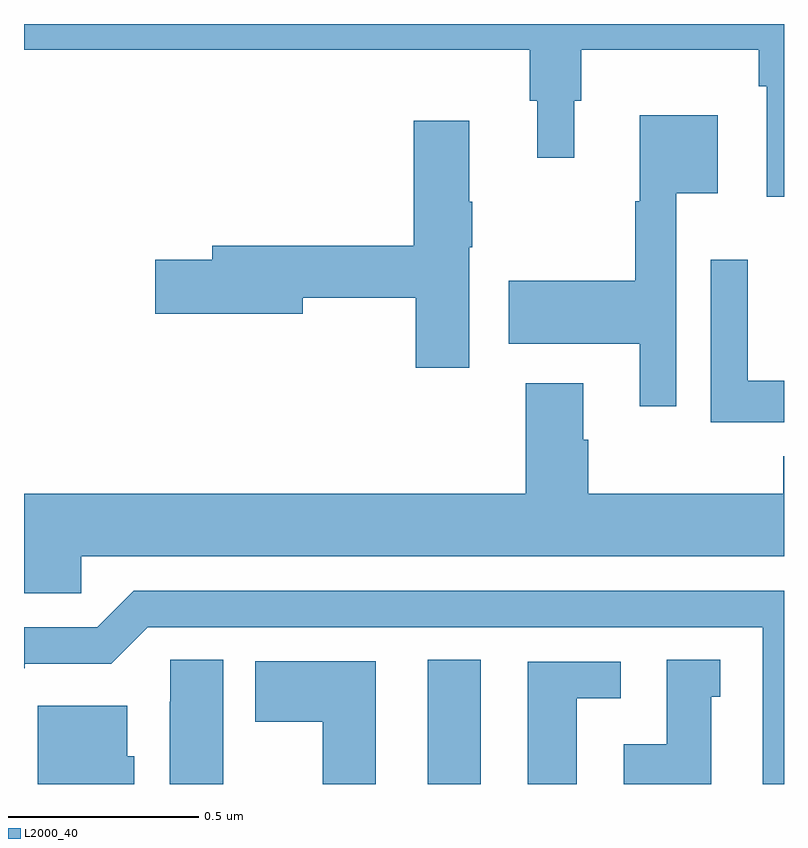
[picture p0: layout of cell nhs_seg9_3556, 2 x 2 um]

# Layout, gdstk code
import gdstk
lib = gdstk.Library(unit=1e-6, precision=1e-09)
def R(c, l, rs):  # rectangles x0, y0, x1, y1
    for r in rs: c.add(gdstk.rectangle(r[:2], r[2:], *l))
def P(c, l, *ps):  # polygons
    for p in ps: c.add(gdstk.Polygon(p, *l))
L2000_40 = (2000, 40)

nhs_seg9_3556 = lib.new_cell('nhs_seg9_3556')
R(nhs_seg9_3556, L2000_40, [(156.062,1182.5,156.202,1182.827)])
P(nhs_seg9_3556, L2000_40, [(157,1184.5),(155,1184.5),(155,1184.432),(156.331,1184.432),(156.331,1184.298),(156.35,1184.298),(156.35,1184.148),(156.448,1184.148),(156.448,1184.298),(156.467,1184.298),(156.467,1184.432),(156.934,1184.432),(156.934,1184.336),(156.954,1184.336),(156.954,1184.046),(157,1184.046)],
  [(156.717,1184.054),(156.826,1184.054),(156.826,1184.26),(156.62,1184.26),(156.62,1184.034),(156.609,1184.034),(156.609,1183.824),(156.276,1183.824),(156.276,1183.658),(156.62,1183.658),(156.62,1183.494),(156.717,1183.494)],
  [(156.172,1183.912),(156.18,1183.912),(156.18,1184.032),(156.172,1184.032),(156.172,1184.245),(156.026,1184.245),(156.026,1183.916),(155.495,1183.916),(155.495,1183.88),(155.346,1183.88),(155.346,1183.738),(155.734,1183.738),(155.734,1183.78),(156.031,1183.78),(156.031,1183.596),(156.172,1183.596)],
  [(157,1183.561),(156.904,1183.561),(156.904,1183.879),(156.807,1183.879),(156.807,1183.452),(157,1183.452)],
  [(155.151,1183.1),(157,1183.1),(157,1183.362),(156.998,1183.362),(156.998,1183.264),(156.485,1183.264),(156.485,1183.406),(156.472,1183.406),(156.472,1183.555),(156.32,1183.555),(156.32,1183.264),(155,1183.264),(155,1183.002),(155.151,1183.002)],
  [(157,1183.008),(155.289,1183.008),(155.193,1182.912),(155,1182.912),(155,1182.804),(155.002,1182.804),(155.002,1182.816),(155.229,1182.816),(155.325,1182.912),(156.944,1182.912),(156.944,1182.5),(157,1182.5)],
  [(156.808,1182.729),(156.832,1182.729),(156.832,1182.827),(156.692,1182.827),(156.692,1182.604),(156.578,1182.604),(156.578,1182.5),(156.808,1182.5)],
  [(155.524,1182.827),(155.385,1182.827),(155.385,1182.716),(155.384,1182.716),(155.384,1182.5),(155.524,1182.5)],
  [(155.926,1182.823),(155.609,1182.823),(155.609,1182.664),(155.786,1182.664),(155.786,1182.5),(155.926,1182.5)],
  [(156.454,1182.726),(156.571,1182.726),(156.571,1182.822),(156.326,1182.822),(156.326,1182.5),(156.454,1182.5)],
  [(155.29,1182.573),(155.272,1182.573),(155.272,1182.706),(155.036,1182.706),(155.036,1182.5),(155.29,1182.5)])

lib.write_gds('nhs_seg9_3556.gds')
